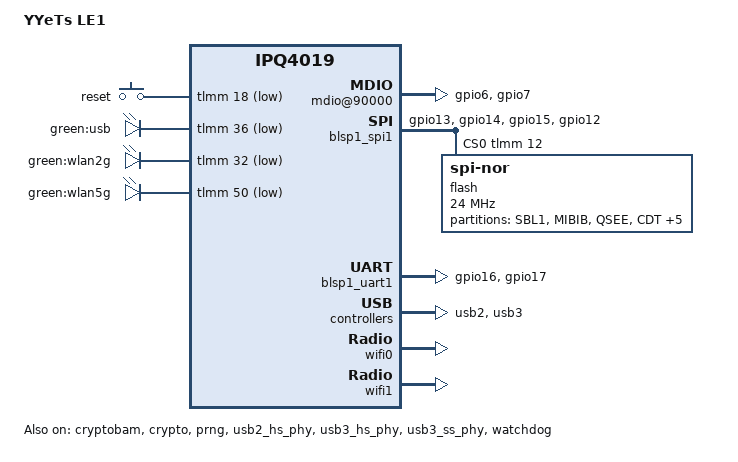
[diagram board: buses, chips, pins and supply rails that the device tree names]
// SPDX-License-Identifier: GPL-2.0-or-later OR MIT

#include "qcom-ipq4019.dtsi"
#include <dt-bindings/gpio/gpio.h>
#include <dt-bindings/input/input.h>
#include <dt-bindings/soc/qcom,tcsr.h>

/ {
	model = "YYeTs LE1";
	compatible = "yyets,le1";

	aliases {
		led-boot = &led_usb;
		led-failsafe = &led_usb;
		led-upgrade = &led_usb;
	};

	keys {
		compatible = "gpio-keys";

		reset {
			label = "reset";
			gpios = <&tlmm 18 GPIO_ACTIVE_LOW>;
			linux,code = <KEY_RESTART>;
		};
	};

	leds {
		compatible = "gpio-leds";

		led_usb: usb {
			label = "green:usb";
			gpios = <&tlmm 36 GPIO_ACTIVE_LOW>;
			linux,default-trigger = "usbport";
			trigger-sources = <&usb3_port1>, <&usb3_port2>, <&usb2_port1>;
		};

		wlan2g {
			label = "green:wlan2g";
			gpios = <&tlmm 32 GPIO_ACTIVE_LOW>;
			linux,default-trigger = "phy0tpt";
		};

		wlan5g {
			label = "green:wlan5g";
			gpios = <&tlmm 50 GPIO_ACTIVE_LOW>;
			linux,default-trigger = "phy1tpt";
		};
	};

	soc {
		mdio@90000 {
			status = "okay";
			pinctrl-0 = <&mdio_pins>;
			pinctrl-names = "default";
		};

		ess-psgmii@98000 {
			status = "okay";
		};

		tcsr@1949000 {
			compatible = "qcom,tcsr";
			reg = <0x1949000 0x100>;
			qcom,wifi_glb_cfg = <TCSR_WIFI_GLB_CFG>;
		};

		tcsr@194b000 {
			compatible = "qcom,tcsr";
			reg = <0x194b000 0x100>;
			qcom,usb-hsphy-mode-select = <TCSR_USB_HSPHY_HOST_MODE>;
		};

		ess_tcsr@1953000 {
			compatible = "qcom,tcsr";
			reg = <0x1953000 0x1000>;
			qcom,ess-interface-select = <TCSR_ESS_PSGMII>;
		};

		tcsr@1957000 {
			compatible = "qcom,tcsr";
			reg = <0x1957000 0x100>;
			qcom,wifi_noc_memtype_m0_m2 = <TCSR_WIFI_NOC_MEMTYPE_M0_M2>;
		};

		ess-switch@c000000 {
			status = "okay";
		};

		edma@c080000 {
			status = "okay";
		};
	};
};

&blsp_dma {
	status = "okay";
};

&blsp1_spi1 {
	cs-gpios = <&tlmm 12 GPIO_ACTIVE_HIGH>;
	pinctrl-0 = <&spi_0_pins>;
	pinctrl-names = "default";
	status = "okay";

	flash@0 {
		compatible = "jedec,spi-nor";
		#address-cells = <1>;
		#size-cells = <1>;
		reg = <0>;
		spi-max-frequency = <24000000>;

		partitions {
			compatible = "fixed-partitions";
			#address-cells = <1>;
			#size-cells = <1>;

			partition@0 {
				label = "SBL1";
				reg = <0x0 0x40000>;
				read-only;
			};

			partition@40000 {
				label = "MIBIB";
				reg = <0x40000 0x20000>;
				read-only;
			};

			partition@60000 {
				label = "QSEE";
				reg = <0x60000 0x60000>;
				read-only;
			};

			partition@c0000 {
				label = "CDT";
				reg = <0xc0000 0x10000>;
				read-only;
			};

			partition@d0000 {
				label = "DDRPARAMS";
				reg = <0xd0000 0x10000>;
				read-only;
			};

			partition@e0000 {
				label = "APPSBLENV";
				reg = <0xe0000 0x10000>;
				read-only;
			};

			partition@f0000 {
				label = "APPSBL";
				reg = <0xf0000 0x80000>;
				read-only;
			};

			partition@170000 {
				label = "ART";
				reg = <0x170000 0x10000>;
				read-only;

				compatible = "nvmem-cells";
				#address-cells = <1>;
				#size-cells = <1>;

				precal_art_1000: precal@1000 {
					reg = <0x1000 0x2f20>;
				};

				precal_art_5000: precal@5000 {
					reg = <0x5000 0x2f20>;
				};
			};

			partition@180000 {
				compatible = "denx,fit";
				label = "firmware";
				reg = <0x180000 0x1e80000>;
			};
		};
	};
};

&blsp1_uart1 {
	pinctrl-0 = <&serial_pins>;
	pinctrl-names = "default";
	status = "okay";
};

&cryptobam {
	status = "okay";
};

&crypto {
	status = "okay";
};

&prng {
	status = "okay";
};

&tlmm {
	mdio_pins: mdio_pinmux {
		mux_1 {
			pins = "gpio6";
			function = "mdio";
			bias-pull-up;
		};
		mux_2 {
			pins = "gpio7";
			function = "mdc";
			bias-pull-up;
		};
	};

	serial_pins: serial_pinmux {
		mux {
			pins = "gpio16", "gpio17";
			function = "blsp_uart0";
			bias-disable;
		};
	};

	spi_0_pins: spi_0_pinmux {
		pinmux {
			function = "blsp_spi0";
			pins = "gpio13", "gpio14", "gpio15";
			drive-strength = <12>;
			bias-disable;
		};

		pinmux_cs {
			function = "gpio";
			pins = "gpio12";
			drive-strength = <2>;
			bias-disable;
			output-high;
		};
	};
};

&usb2 {
	status = "okay";

	dwc3@6000000 {
		#address-cells = <1>;
		#size-cells = <0>;

		usb2_port1: port@1 {
			reg = <1>;
			#trigger-source-cells = <0>;
		};
	};
};

&usb2_hs_phy {
	status = "okay";
};

&usb3 {
	status = "okay";

	dwc3@8a00000 {
		#address-cells = <1>;
		#size-cells = <0>;

		usb3_port1: port@1 {
			reg = <1>;
			#trigger-source-cells = <0>;
		};

		usb3_port2: port@2 {
			reg = <2>;
			#trigger-source-cells = <0>;
		};
	};
};

&usb3_hs_phy {
	status = "okay";
};

&usb3_ss_phy {
	status = "okay";
};

&watchdog {
	status = "okay";
};

&wifi0 {
	status = "okay";
	nvmem-cells = <&precal_art_1000>;
	nvmem-cell-names = "pre-calibration";
	qcom,ath10k-calibration-variant = "YYeTs-LE1";
};

&wifi1 {
	status = "okay";
	nvmem-cells = <&precal_art_5000>;
	nvmem-cell-names = "pre-calibration";
	qcom,ath10k-calibration-variant = "YYeTs-LE1";
};
